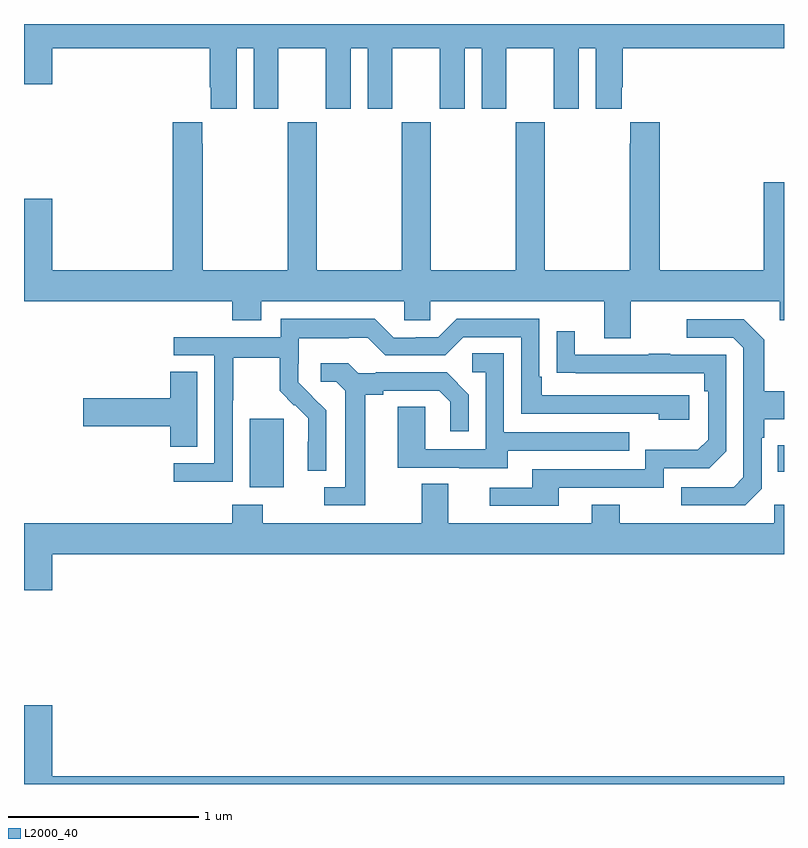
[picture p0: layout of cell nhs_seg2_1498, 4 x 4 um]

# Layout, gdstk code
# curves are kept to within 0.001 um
import gdstk
lib = gdstk.Library(unit=1e-6, precision=1e-09)
def R(c, l, rs):  # rectangles x0, y0, x1, y1
    for r in rs: c.add(gdstk.rectangle(r[:2], r[2:], *l))
def P(c, l, *ps):  # polygons
    for p in ps: c.add(gdstk.Polygon(p, *l))
L2000_40 = (2000, 40)

nhs_seg2_1498 = lib.new_cell('nhs_seg2_1498')
R(nhs_seg2_1498, L2000_40, [(190.187,609.362,190.366,609.723), (192.967,609.443,193,609.583)])
P(nhs_seg2_1498, L2000_40, [(190.12,611.672),(190.208,611.672),(190.208,611.355),(190.339,611.355),(190.339,611.672),(190.589,611.672),(190.589,611.355),(190.72,611.355),(190.72,611.672),(190.808,611.672),(190.808,611.355),(190.939,611.355),(190.939,611.672),(191.189,611.672),(191.189,611.355),(191.32,611.355),(191.32,611.672),(191.408,611.672),(191.408,611.355),(191.539,611.355),(191.539,611.672),(191.789,611.672),(191.789,611.355),(191.92,611.355),(191.92,611.672),(192.008,611.672),(192.008,611.355),(192.145,611.355),(192.145,611.467),(192.152,611.467),(192.152,611.672),(193,611.672),(193,611.8),(189,611.8),(189,611.484),(189.148,611.484),(189.148,611.672),(189.977,611.672),(189.977,611.467),(189.983,611.467),(189.983,611.355),(190.12,611.355)],
  [(192.193,610.34),(192.977,610.34),(192.977,610.241),(193,610.241),(193,610.966),(192.893,610.966),(192.893,610.504),(192.347,610.504),(192.347,611.284),(192.191,611.284),(192.191,611.171),(192.187,611.171),(192.187,610.504),(191.742,610.504),(191.742,611.284),(191.587,611.284),(191.587,610.504),(191.142,610.504),(191.142,611.284),(190.987,611.284),(190.987,610.504),(190.542,610.504),(190.542,611.284),(190.387,611.284),(190.387,610.504),(189.942,610.504),(189.942,611.171),(189.937,611.171),(189.937,611.284),(189.782,611.284),(189.782,610.504),(189.148,610.504),(189.148,610.879),(189,610.879),(189,610.34),(190.097,610.34),(190.097,610.241),(190.249,610.241),(190.249,610.34),(191.001,610.34),(191.001,610.242),(191.139,610.242),(191.139,610.34),(192.053,610.34),(192.053,610.146),(192.193,610.146)],
  [(190.098,609.82),(190.101,609.82),(190.101,610.044),(190.345,610.044),(190.345,609.869),(190.422,609.792),(190.425,609.795),(190.496,609.725),(190.496,609.602),(190.494,609.602),(190.494,609.448),(190.59,609.448),(190.59,609.766),(190.444,609.914),(190.444,610.011),(190.446,610.011),(190.446,610.145),(190.709,610.145),(190.709,610.149),(190.809,610.149),(190.902,610.056),(191.217,610.056),(191.313,610.152),(191.616,610.152),(191.616,609.75),(192.341,609.75),(192.341,609.716),(192.502,609.716),(192.502,609.846),(191.725,609.846),(191.725,609.943),(191.712,609.943),(191.712,610.248),(191.277,610.248),(191.181,610.152),(191.063,610.152),(191.063,610.149),(190.947,610.149),(190.847,610.249),(190.35,610.249),(190.35,610.152),(189.789,610.152),(189.789,610.056),(190.002,610.056),(190.002,609.489),(189.789,609.489),(189.789,609.391),(190.098,609.391)],
  [(192.882,609.354),(192.882,609.623),(192.895,609.623),(192.895,609.719),(193,609.719),(193,609.867),(192.895,609.867),(192.895,610.139),(192.789,610.245),(192.489,610.245),(192.489,610.149),(192.732,610.149),(192.786,610.095),(192.786,609.414),(192.735,609.363),(192.459,609.363),(192.459,609.267),(192.795,609.267)],
  [(191.815,609.36),(192.366,609.36),(192.366,609.462),(192.606,609.462),(192.696,609.552),(192.696,610.059),(192.401,610.059),(192.401,610.064),(192.289,610.064),(192.289,610.059),(191.899,610.059),(191.899,610.183),(191.803,610.183),(191.803,609.964),(192.58,609.963),(192.58,609.866),(192.6,609.866),(192.6,609.612),(192.547,609.559),(192.27,609.559),(192.27,609.456),(191.675,609.456),(191.675,609.36),(191.451,609.36),(191.451,609.264),(191.815,609.264)],
  [(191.545,609.555),(192.185,609.555),(192.185,609.651),(191.526,609.651),(191.526,610.067),(191.358,610.067),(191.358,609.966),(191.43,609.966),(191.43,609.561),(191.112,609.561),(191.112,609.785),(190.967,609.785),(190.967,609.465),(191.291,609.465),(191.291,609.461),(191.545,609.461)],
  [(190.795,609.848),(190.891,609.848),(190.891,609.87),(191.186,609.87),(191.243,609.813),(191.243,609.657),(191.34,609.657),(191.34,609.85),(191.224,609.966),(190.852,609.966),(190.852,609.963),(190.758,609.963),(190.706,610.015),(190.563,610.015),(190.563,609.918),(190.644,609.918),(190.691,609.871),(190.691,609.363),(190.581,609.363),(190.581,609.267),(190.795,609.267)],
  [(189.913,609.971),(189.77,609.971),(189.77,609.83),(189.312,609.83),(189.312,609.683),(189.77,609.683),(189.77,609.574),(189.913,609.574)],
  [(193,609.271),(192.948,609.271),(192.948,609.172),(192.135,609.172),(192.135,609.271),(191.987,609.271),(191.987,609.172),(191.233,609.172),(191.233,609.38),(191.093,609.38),(191.093,609.172),(190.257,609.172),(190.257,609.271),(190.097,609.271),(190.097,609.172),(189,609.172),(189,608.82),(189.148,608.82),(189.148,609.008),(193,609.008)],
  [(193,607.84),(189.148,607.84),(189.148,608.215),(189,608.215),(189,607.8),(193,607.8)])

lib.write_gds('nhs_seg2_1498.gds')
